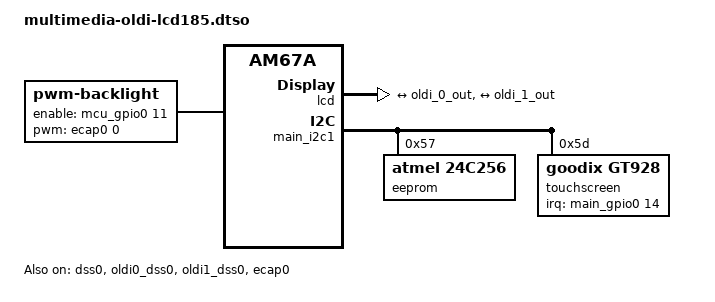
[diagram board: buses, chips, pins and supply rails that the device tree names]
// SPDX-License-Identifier: GPL-2.0-or-later OR MIT
/**
 * Lincoln tech Solutions OLDI panel (LCD185-101CT) and touch DT overlay for J722S-BeagleY-AI
 *
 * J722S-BeagleY-AI: https://www.beagleboard.org/boards/beagley-ai
 * Panel datasheet: https://lincolntechsolutions.com/wp-content/uploads/2023/04/LCD185-101CTL1ARNTT_DS_R1.3.pdf
 *
 * Copyright (C) 2024 Texas Instruments Incorporated - http://www.ti.com/
 */

/dts-v1/;
/plugin/;

/ { compatible = "beagle,am67a-beagley-ai"; };

#include <dt-bindings/gpio/gpio.h>
#include <arm64/ti/k3-pinctrl.h>
#include <dt-bindings/interrupt-controller/irq.h>

&{/} {
	backlight: backlight {
		compatible = "pwm-backlight";
		pinctrl-names = "default";
		pinctrl-0 = <&main_oldi_backlight_default_pins>, <&mcu_oldi_backlight_default_pins>;
		brightness-levels = <0 4 8 16 32 64 128 255>;
		default-brightness-level = <6>;
		enable-gpios = <&mcu_gpio0 11 GPIO_ACTIVE_HIGH>;
		pwms = <&ecap0 0 20000 0>;
	};

	lcd {
		compatible = "lincolntech,lcd185-101ct", "panel-simple";
		backlight = <&backlight>;
		/*
		* Note that the OLDI TX 0 transmits the odd set of pixels
		* while the OLDI TX 1 transmits the even set. This is a
		* fixed configuration in the IP integration and is not
		* changeable. The properties, "dual-lvds-odd-pixels" and
		* "dual-lvds-even-pixels" have been used to merely
		* identify if a Dual Link configuration is required.
		* Swapping them will cause an error in the dss oldi driver.
		*/
		ports {
			#address-cells = <1>;
			#size-cells = <0>;

			port@0 {
				reg = <0>;
				dual-lvds-odd-pixels;
				lcd_in0: endpoint {
					remote-endpoint = <&oldi_0_out>;
				};
			};
			port@1 {
				reg = <1>;
				dual-lvds-even-pixels;
				lcd_in1: endpoint {
					remote-endpoint = <&oldi_1_out>;
				};
			};
		};
	};
};

&dss0 {
	status = "okay";
};

&oldi0_dss0 {
	status = "okay";
	ti,companion-oldi = <&oldi1_dss0>;
};

&oldi1_dss0 {
	status = "okay";
	ti,secondary-oldi;
	ti,companion-oldi = <&oldi0_dss0>;
};

&oldi0_dss0_ports {
	#address-cells = <1>;
	#size-cells = <0>;

	port@0 {
		reg = <0>;
		oldi_0_in: endpoint {
			remote-endpoint = <&dpi0_out0>;
		};
	};

	port@1 {
		reg = <1>;
		oldi_0_out: endpoint {
			remote-endpoint = <&lcd_in0>;
		};
	};
};

&oldi1_dss0_ports {
	#address-cells = <1>;
	#size-cells = <0>;

	port@0 {
		reg = <0>;
		oldi_1_in: endpoint {
			remote-endpoint = <&dpi0_out1>;
		};
	};

	port@1 {
		reg = <1>;
		oldi_1_out: endpoint {
			remote-endpoint = <&lcd_in1>;
		};
	};
};

&dss0_ports {
	#address-cells = <1>;
	#size-cells = <0>;

	/* VP1: Output to OLDI */
	port@0 {
		reg = <0>;
		#address-cells = <1>;
		#size-cells = <0>;

		dpi0_out0: endpoint@0 {
			reg = <0>;
			remote-endpoint = <&oldi_0_in>;
		};
		dpi0_out1: endpoint@1 {
			reg = <1>;
			remote-endpoint = <&oldi_1_in>;
		};
	};
};

&main_i2c1 {
	#address-cells = <1>;
	#size-cells = <0>;

	eeprom@57 {
		compatible = "atmel,24c256";
		reg = <0x57>;
	};

	touchscreen@5d {
		compatible = "goodix,gt928";
		reg = <0x5d>;
		pinctrl-names = "default";
	        pinctrl-0 = <&main_oldi_touchscreen_default_pins>;
		interrupt-parent = <&main_gpio0>;
		interrupts = <14 IRQ_TYPE_EDGE_FALLING>;
		irq-gpios = <&main_gpio0 14 GPIO_ACTIVE_HIGH>;
		touchscreen-size-x = <1920>;
		touchscreen-size-y = <1200>;
	};
};

&ecap0 {
	status = "okay";
};

/* BeagleY-AI connector wiring: BeagleBoard Linux ac5c6fe561c328dc989be8c9e45c31ad775abba9. */
&main_pmx0 {
 main_oldi_backlight_default_pins: main-oldi-backlight-pins {
  pinctrl-single,pins = <J722S_IOPAD(0x01f0, PIN_OUTPUT, 8)>;
 };
 main_oldi_touchscreen_default_pins: main-oldi-touch-pins {
  pinctrl-single,pins = <J722S_IOPAD(0x0038, PIN_INPUT, 7)>;
 };
};
&mcu_pmx0 {
 mcu_oldi_backlight_default_pins: mcu-oldi-backlight-pins {
  pinctrl-single,pins = <J722S_MCU_IOPAD(0x002c, PIN_OUTPUT, 7)>;
 };
};
